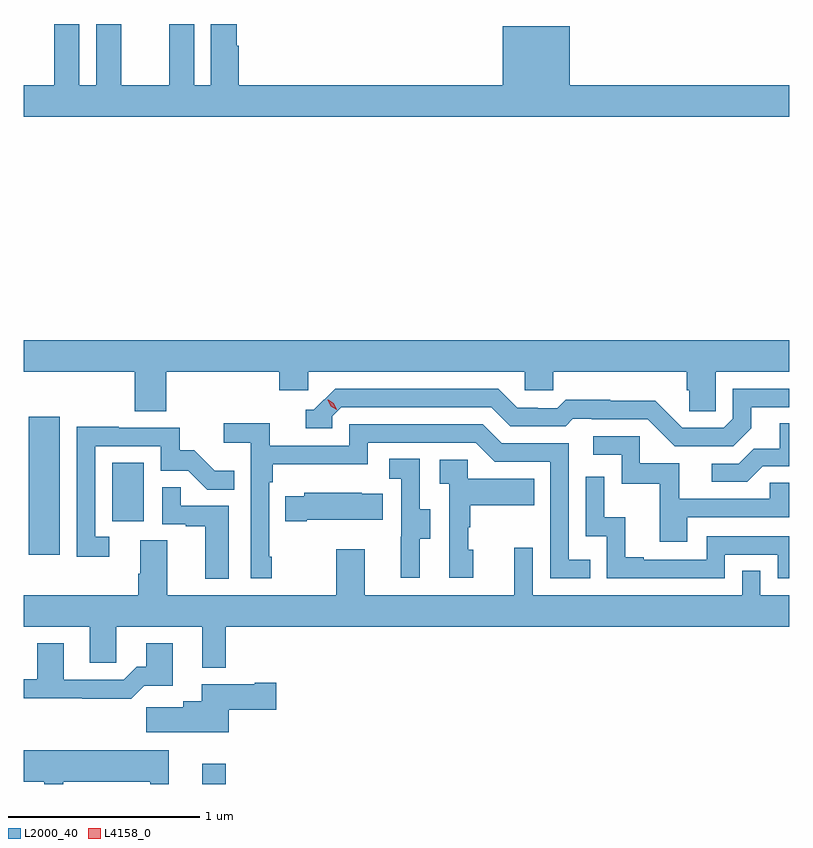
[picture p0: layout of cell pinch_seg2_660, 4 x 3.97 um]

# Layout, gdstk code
import gdstk
lib = gdstk.Library(unit=1e-6, precision=1e-09)
def R(c, l, rs):  # rectangles x0, y0, x1, y1
    for r in rs: c.add(gdstk.rectangle(r[:2], r[2:], *l))
def P(c, l, *ps):  # polygons
    for p in ps: c.add(gdstk.Polygon(p, *l))
L2000_40 = (2000, 40)
L4158_0 = (4158, 0)

pinch_seg2_660 = lib.new_cell('pinch_seg2_660')
R(pinch_seg2_660, L2000_40, [(1031.813,597.529,1031.935,597.634), (1030.907,598.728,1031.068,599.449), (1031.342,598.902,1031.506,599.209)])
P(pinch_seg2_660, L2000_40, [(1034.88,601.18),(1033.732,601.18),(1033.732,601.489),(1033.382,601.489),(1033.382,601.18),(1032.002,601.18),(1032.002,601.388),(1031.992,601.388),(1031.992,601.501),(1031.858,601.501),(1031.858,601.18),(1031.77,601.18),(1031.77,601.501),(1031.64,601.501),(1031.64,601.388),(1031.639,601.388),(1031.639,601.18),(1031.389,601.18),(1031.389,601.388),(1031.388,601.388),(1031.388,601.501),(1031.258,601.501),(1031.258,601.18),(1031.17,601.18),(1031.17,601.501),(1031.04,601.501),(1031.04,601.388),(1031.039,601.388),(1031.039,601.18),(1030.88,601.18),(1030.88,601.016),(1034.88,601.016)],
  [(1030.88,599.684),(1031.459,599.684),(1031.459,599.476),(1031.624,599.476),(1031.624,599.684),(1032.215,599.684),(1032.215,599.586),(1032.366,599.586),(1032.366,599.684),(1033.497,599.684),(1033.497,599.586),(1033.647,599.586),(1033.647,599.684),(1034.345,599.684),(1034.345,599.586),(1034.359,599.586),(1034.359,599.476),(1034.496,599.476),(1034.496,599.684),(1034.88,599.684),(1034.88,599.848),(1030.88,599.848)],
  [(1034.683,599.389),(1034.683,599.499),(1034.88,599.499),(1034.88,599.595),(1034.586,599.595),(1034.586,599.439),(1034.538,599.391),(1034.322,599.391),(1034.18,599.533),(1033.944,599.533),(1033.944,599.536),(1033.711,599.536),(1033.669,599.493),(1033.566,599.493),(1033.566,599.496),(1033.459,599.496),(1033.36,599.595),(1032.507,599.595),(1032.396,599.484),(1032.353,599.484),(1032.353,599.388),(1032.492,599.388),(1032.492,599.451),(1032.54,599.499),(1033.323,599.499),(1033.422,599.4),(1033.711,599.4),(1033.75,599.439),(1033.849,599.439),(1033.849,599.436),(1034.142,599.436),(1034.283,599.295),(1034.589,599.295)],
  [(1034.743,599.19),(1034.88,599.19),(1034.88,599.414),(1034.831,599.414),(1034.831,599.282),(1034.696,599.282),(1034.616,599.202),(1034.475,599.202),(1034.475,599.109),(1034.662,599.109)],
  [(1032.175,598.717),(1032.162,598.717),(1032.162,599.105),(1032.182,599.105),(1032.182,599.201),(1032.678,599.201),(1032.678,599.313),(1033.242,599.313),(1033.341,599.214),(1033.632,599.214),(1033.632,598.605),(1033.841,598.605),(1033.841,598.701),(1033.728,598.701),(1033.728,599.31),(1033.378,599.31),(1033.279,599.409),(1032.582,599.409),(1032.582,599.298),(1032.164,599.298),(1032.164,599.414),(1031.925,599.414),(1031.925,599.312),(1032.066,599.312),(1032.066,598.605),(1032.175,598.605)],
  [(1031.326,598.821),(1031.253,598.821),(1031.253,599.295),(1031.595,599.295),(1031.595,599.166),(1031.74,599.166),(1031.838,599.068),(1031.981,599.068),(1031.981,599.167),(1031.877,599.167),(1031.77,599.274),(1031.694,599.274),(1031.694,599.391),(1031.375,599.391),(1031.375,599.396),(1031.157,599.396),(1031.157,598.716),(1031.326,598.716)],
  [(1034.347,598.923),(1034.88,598.923),(1034.88,599.103),(1034.779,599.103),(1034.779,599.019),(1034.305,599.019),(1034.305,599.205),(1034.1,599.205),(1034.1,599.346),(1033.857,599.346),(1033.857,599.25),(1034.004,599.25),(1034.004,599.097),(1034.203,599.097),(1034.203,598.794),(1034.347,598.794)],
  [(1032.949,598.81),(1033.003,598.81),(1033.003,598.965),(1032.948,598.965),(1032.948,599.228),(1032.789,599.228),(1032.789,599.125),(1032.852,599.125),(1032.852,598.821),(1032.851,598.821),(1032.851,598.608),(1032.949,598.608)],
  [(1033.228,598.752),(1033.203,598.752),(1033.203,598.871),(1033.213,598.871),(1033.213,598.985),(1033.547,598.985),(1033.547,599.125),(1033.2,599.125),(1033.2,599.223),(1033.053,599.223),(1033.053,599.099),(1033.104,599.099),(1033.104,598.608),(1033.228,598.608)],
  [(1034.544,598.728),(1034.82,598.728),(1034.82,598.605),(1034.88,598.605),(1034.88,598.824),(1034.448,598.824),(1034.448,598.701),(1034.119,598.701),(1034.119,598.714),(1034.024,598.714),(1034.024,598.922),(1033.914,598.922),(1033.914,599.134),(1033.818,599.134),(1033.818,598.824),(1033.926,598.824),(1033.926,598.605),(1034.544,598.605)],
  [(1031.95,598.983),(1031.699,598.983),(1031.699,599.081),(1031.604,599.081),(1031.604,598.887),(1031.725,598.887),(1031.725,598.875),(1031.828,598.875),(1031.828,598.601),(1031.95,598.601)],
  [(1032.358,598.91),(1032.755,598.91),(1032.755,599.047),(1032.647,599.047),(1032.647,599.05),(1032.345,599.05),(1032.345,599.032),(1032.247,599.032),(1032.247,598.903),(1032.358,598.903)],
  [(1030.88,598.352),(1031.225,598.352),(1031.225,598.162),(1031.364,598.162),(1031.364,598.352),(1031.813,598.352),(1031.813,598.136),(1031.935,598.136),(1031.935,598.352),(1034.88,598.352),(1034.88,598.516),(1034.73,598.516),(1034.73,598.643),(1034.634,598.643),(1034.634,598.516),(1033.539,598.516),(1033.539,598.765),(1033.442,598.765),(1033.442,598.516),(1032.661,598.516),(1032.661,598.756),(1032.514,598.756),(1032.514,598.516),(1031.629,598.516),(1031.629,598.802),(1031.489,598.802),(1031.489,598.628),(1031.477,598.628),(1031.477,598.516),(1030.88,598.516)],
  [(1031.51,598.043),(1031.659,598.043),(1031.659,598.264),(1031.519,598.264),(1031.519,598.141),(1031.47,598.141),(1031.403,598.074),(1031.089,598.074),(1031.089,598.264),(1030.949,598.264),(1030.949,598.077),(1030.88,598.077),(1030.88,597.976),(1031.185,597.976),(1031.185,597.974),(1031.441,597.974)],
  [(1031.95,597.917),(1032.199,597.917),(1032.199,598.059),(1032.086,598.059),(1032.086,598.051),(1031.81,598.051),(1031.81,597.961),(1031.714,597.961),(1031.714,597.929),(1031.52,597.929),(1031.52,597.8),(1031.95,597.8)],
  [(1031.086,597.542),(1031.54,597.542),(1031.54,597.529),(1031.638,597.529),(1031.638,597.706),(1030.88,597.706),(1030.88,597.542),(1030.988,597.542),(1030.988,597.529),(1031.086,597.529)])
P(pinch_seg2_660, L4158_0, [(1032.516,599.485),(1032.485,599.504),(1032.469,599.537),(1032.469,599.537),(1032.47,599.537),(1032.5,599.518),(1032.516,599.485),(1032.516,599.485)])

lib.write_gds('pinch_seg2_660.gds')
